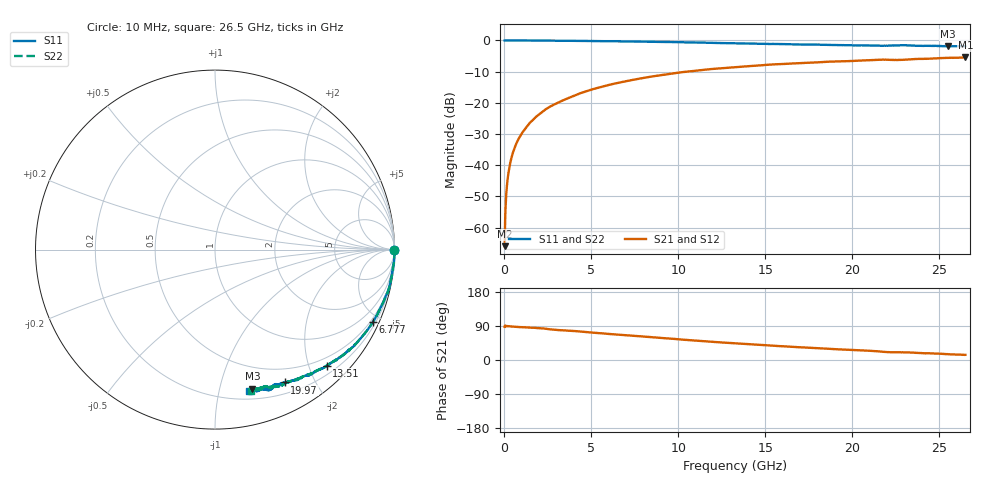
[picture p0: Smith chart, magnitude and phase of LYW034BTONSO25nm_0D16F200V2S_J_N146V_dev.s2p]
!Keysight Technologies,N5222B,MY61253708,A.15.00.15
!Date: Wednesday, June 19, 2024 10:07:57
!Correction: S11(C  2-Port  )
!S21(C  2-Port  )
!S12(C  2-Port  )
!S22(C  2-Port  )
!S2P File: Measurements: S11, S21, S12, S22:
# Hz S  RI  R 50
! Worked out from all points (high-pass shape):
!   2651 points, 10 MHz to 26.5 GHz, reference 50 ohm
!   highest |S21| = -5.41 dB at 26.5 GHz (marker M1); lowest = -65.9 dB at 10 MHz (marker M2)
!   |S21| within 3 dB of the highest: 13.57 GHz to end of sweep
!   lowest |S11| = -1.9 dB at 25.5 GHz (marker M3), VSWR 9.15, Z = 14.5 - j63.2 ohm
!   |S11| at or under -10 dB: nowhere
!   |S22| runs from -1.9 to 0.0 dB; largest |S21 - S12| = 0.006
!   S11 on the Smith chart (normalised r, x): 10 MHz: open; 6.777 GHz: 0.36, -4.56; 13.51 GHz: 0.35, -2.31; 19.97 GHz: 0.33, -1.61; 26.5 GHz: 0.27, -1.23
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1e7  0.9987 -0.00286  2.01e-05 0.000505  0.000171 0.000282  0.9986 -0.00149
7.997358e7  1 -0.00565  1.55e-05 0.0026  3.27e-05 0.00265  0.9994 -0.00526
1.599434e8  1 -0.0112  7.09e-05 0.00524  4.64e-05 0.00526  0.9997 -0.0106
2.099245e8  0.9998 -0.014  8.47e-05 0.00688  0.000103 0.0069  0.9995 -0.0135
2.699019e8  0.9999 -0.0183  0.000148 0.00886  0.00014 0.00892  0.9999 -0.0175
3.698642e8  0.9998 -0.0252  0.000294 0.0121  0.000258 0.0122  0.9994 -0.0244
4.998151e8  0.9989 -0.0332  0.000526 0.0163  0.000536 0.0164  0.9992 -0.0323
6.597547e8  0.9985 -0.0432  0.000875 0.0215  0.000886 0.0216  0.9987 -0.0425
8.49683e8  0.9982 -0.0558  0.00146 0.0276  0.00148 0.0277  0.998 -0.0556
1.459453e9  0.991 -0.0969  0.00349 0.0478  0.00353 0.0479  0.9934 -0.0934
2.339121e9  0.9824 -0.1504  0.00975 0.0771  0.00995 0.0775  0.9835 -0.1509
3.208792e9  0.972 -0.2054  0.0206 0.1028  0.0207 0.1033  0.9717 -0.2049
4.428332e9  0.944 -0.2777  0.0375 0.14  0.0378 0.1407  0.9456 -0.2754
6.777445e9  0.8796 -0.403  0.0883 0.1977  0.0893 0.198  0.8808 -0.4034
8.846664e9  0.8074 -0.4986  0.1424 0.2351  0.1436 0.2354  0.8084 -0.4977
1.3255e10  0.6336 -0.6397  0.2685 0.2605  0.2703 0.26  0.6364 -0.6388
1.35149e10  0.6225 -0.6466  0.2753 0.2597  0.277 0.2594  0.6261 -0.6442
1.767333e10  0.463 -0.7212  0.3747 0.2342  0.3775 0.2323  0.4719 -0.7189
1.997246e10  0.3889 -0.7402  0.4194 0.2104  0.4217 0.2077  0.4006 -0.7385
2.209166e10  0.3278 -0.7559  0.458 0.1732  0.4591 0.17  0.32 -0.7617
2.550038e10  0.2086 -0.7754  0.5078 0.1375  0.5086 0.1367  0.2274 -0.7773
2.65e10  0.1888 -0.7893  0.5212 0.126  0.5202 0.1222  0.201 -0.787
